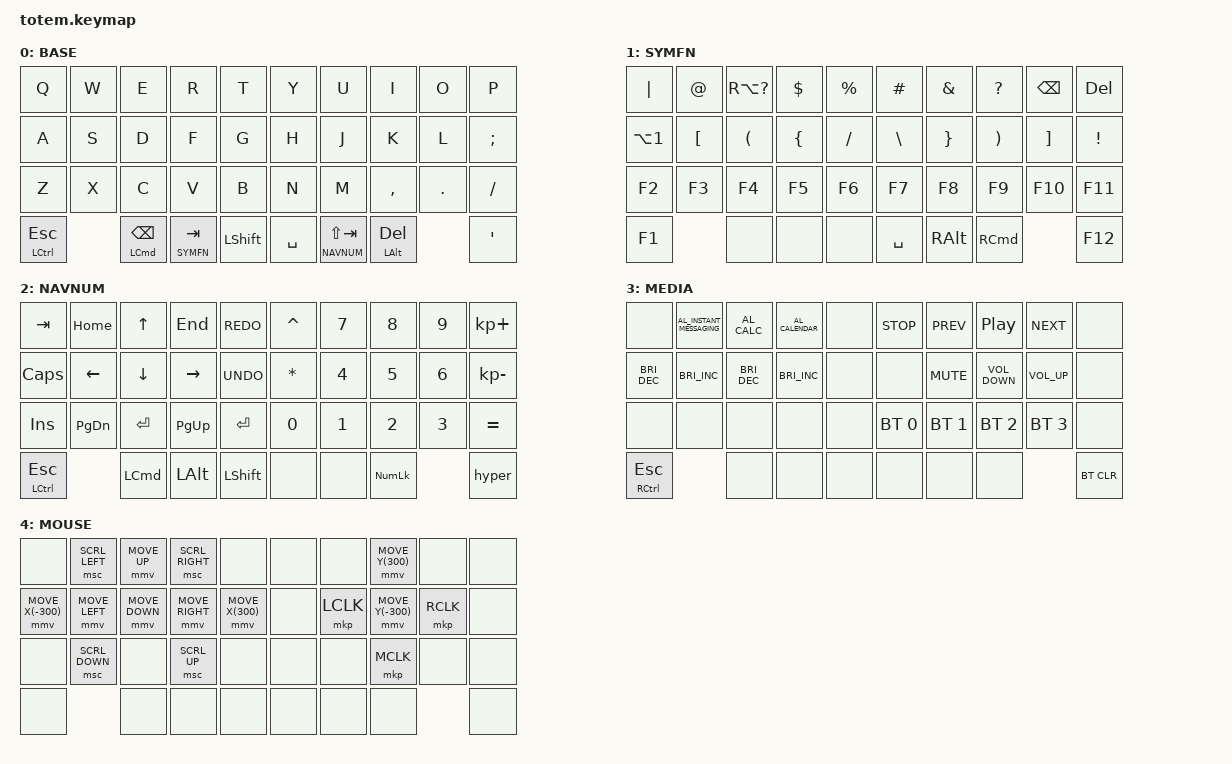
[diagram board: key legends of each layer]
//
//                                                        ▀▀▀▀▀     ▀▀▀▀▀          ▀▀█▀▀
//                                                        ▄▀▀▀▄  ▄  ▄▀▀▀▄  ▄  ▄▀▀▀▄  █  ▄▀▀▀▄
//                                                        █   █  █  █   █  █  █   █  █  █   █
//                                                         ▀▀▀   █   ▀▀▀   █   ▀▀▀   ▀   ▀▀▀
//                                                               █      ▄▄▄█▄▄▄    █   █
//                                                               ▀      █  █  █     █▄█
//                                                             ▀▀▀▀▀    █  █  █      ▀
//                                                                      ▀  ▀  ▀
//
// ▄▄▄▄▄▄▄▄▄▄▄▄▄▄▄▄▄▄▄▄▄▄▄▄▄▄▄▄▄▄▄▄▄▄▄▄▄▄▄▄▄▄▄▄▄▄▄▄▄▄▄▄▄▄▄▄▄▄▄▄▄▄▄▄▄▄▄▄▄▄▄▄▄▄▄▄▄▄▄▄▄▄▄▄▄▄▄▄▄▄▄▄▄▄▄▄▄▄▄▄▄▄▄▄▄▄▄▄▄▄▄▄▄▄▄▄▄▄▄▄▄▄▄▄▄▄▄▄▄▄▄▄▄▄▄▄▄▄▄▄▄▄▄▄▄▄▄▄▄
//
//   Layer 0: BASE    — QWERTY, dedicated thumb modifiers, outer pinky keys
//   Layer 1: SYMFN   — symbols, brackets, F1-F12 (hold Left Thumb 2)
//   Layer 2: NAVNUM  — navigation arrows, keypad numbers (hold Right Thumb 2)
//   Layer 3: MEDIA   — media, brightness, app launchers, BT profiles (dual-thumb combo 32+35)
//   Layer 4: MOUSE   — mouse movement, scroll, clicks (dual-thumb combo 33+34)

#include <dt-bindings/zmk/mouse.h>
#include <behaviors.dtsi>
#include <dt-bindings/zmk/bt.h>
#include <dt-bindings/zmk/keys.h>
#include <dt-bindings/zmk/pointing.h>

#define BASE   0
#define SYMFN  1
#define NAVNUM 2
#define MEDIA  3
#define MOUSE  4

&mt {
    flavor = "tap-preferred";
    tapping-term-ms = <280>;
    quick-tap-ms = <220>;
    require-prior-idle-ms = <150>;
};

&lt {
    flavor = "balanced";
    tapping-term-ms = <300>;
    quick-tap-ms = <220>;
};

/ {
    combos {
        compatible = "zmk,combos";

        // ── Tier 1: Essential ──────────────────────────────────────
        // ── Tier 2: High Value ─────────────────────────────────────

        combo_enter {
            bindings = <&kp RET>;
            key-positions = <17 18 16>;         // K + L
            timeout-ms = <70>;
            require-prior-idle-ms = <150>;
        };

        // ── Tier 3: Vertical Symbol Combos ─────────────────────────

        combo_equal {
            bindings = <&kp EQUAL>;
            key-positions = <28 29>;         // F + V (left index vertical)
            timeout-ms = <70>;
            require-prior-idle-ms = <150>;
        };

        media_layer {
            bindings = <&lt MEDIA RIGHT_ALT>;
            key-positions = <32 35>;
            timeout-ms = <70>;
            require-prior-idle-ms = <150>;
        };

        tilde {
            bindings = <&kp TILDE>;
            key-positions = <17 18>;
            timeout-ms = <70>;
            require-prior-idle-ms = <150>;
        };

        Tab {
            bindings = <&kp TAB>;
            key-positions = <0 1>;
            timeout-ms = <70>;
            require-prior-idle-ms = <150>;
        };

        minus_and_underscore {
            bindings = <&kp MINUS>;
            key-positions = <19 18>;
            timeout-ms = <70>;
            require-prior-idle-ms = <150>;
        };

        plus {
            bindings = <&kp PLUS>;
            key-positions = <8 9>;
            timeout-ms = <80>;
            require-prior-idle-ms = <170>;
        };

        quick_search {
            bindings = <&kp C_AC_SEARCH>;
            key-positions = <1 2 3>;
            timeout-ms = <70>;
            require-prior-idle-ms = <150>;
        };

        mouse_layer {
            bindings = <&lt MOUSE LEFT_ALT>;
            key-positions = <33 34>;
            timeout-ms = <70>;
            require-prior-idle-ms = <150>;
        };

        combo-enter-left {
            bindings = <&kp ENTER>;
            key-positions = <11 12 13>;
            timeout-ms = <70>;
            require-prior-idle-ms = <150>;
        };

        combo-backspace {
            bindings = <&kp BACKSPACE>;
            key-positions = <7 8>;
            timeout-ms = <80>;
            require-prior-idle-ms = <170>;
        };
    };

    macros {
        hyper: hyper {
            compatible = "zmk,behavior-macro";
            #binding-cells = <0>;
            bindings =
                <&macro_press>,
                <&kp LGUI &kp LALT &kp LCTRL &kp LSHFT>,
                <&macro_pause_for_release>,
                <&macro_release>,
                <&kp LGUI &kp LALT &kp LCTRL &kp LSHFT>;
        };

        degree: degree {
            compatible = "zmk,behavior-macro";
            #binding-cells = <0>;
            bindings = <&kp LS(LA(NUMBER_8))>;
            label = "DEGREE";
        };
    };

    keymap {
        compatible = "zmk,keymap";

        // ▄▄▄▄▄▄▄▄▄▄▄▄▄▄▄▄▄▄▄▄▄▄▄▄▄▄▄▄▄▄▄▄▄▄▄▄▄▄▄▄▄▄▄▄▄▄▄▄▄▄▄▄▄▄▄▄▄▄▄▄▄▄▄▄▄▄▄▄▄▄▄▄▄▄▄▄▄▄▄▄▄▄▄▄▄▄▄▄▄▄▄▄▄▄▄▄▄▄▄▄▄▄▄▄▄▄▄▄▄▄▄▄▄▄▄▄▄▄▄▄▄▄▄▄▄▄▄▄▄▄▄▄▄▄▄▄▄▄▄▄▄▄▄▄▄▄▄▄▄

        base_layer {
            display-name = "BASE";
            bindings = <
&kp Q          &kp W  &kp E                       &kp R          &kp T           &kp Y      &kp U               &kp I                &kp O    &kp P
&kp A          &kp S  &kp D                       &kp F          &kp G           &kp H      &kp J               &kp K                &kp L    &kp SEMI
&kp Z          &kp X  &kp C                       &kp V          &kp B           &kp N      &kp M               &kp COMMA            &kp DOT  &kp SLASH
&mt LCTRL ESC         &mt LEFT_COMMAND BACKSPACE  &lt SYMFN TAB  &kp LEFT_SHIFT  &kp SPACE  &lt NAVNUM LS(TAB)  &mt LEFT_ALT DELETE           &kp SINGLE_QUOTE
            >;
        };

        symfn_layer {
            bindings = <
&kp PIPE          &kp AT            &kp RA(QUESTION)      &kp DOLLAR      &kp PERCENT  &kp HASH       &kp AMPERSAND    &kp QUESTION           &kp BACKSPACE      &kp DELETE
&kp LA(NUMBER_1)  &kp LEFT_BRACKET  &kp LEFT_PARENTHESIS  &kp LEFT_BRACE  &kp SLASH    &kp BACKSLASH  &kp RIGHT_BRACE  &kp RIGHT_PARENTHESIS  &kp RIGHT_BRACKET  &kp EXCLAMATION
&kp F2            &kp F3            &kp F4                &kp F5          &kp F6       &kp F7         &kp F8           &kp F9                 &kp F10            &kp F11
&kp F1                              &none                 &none           &none        &kp SPACE      &kp RIGHT_ALT    &kp RIGHT_COMMAND                         &kp F12
            >;

            label = "SYMFN";
        };

        navnum_layer {
            display-name = "NAVNUM";
            bindings = <
&kp TAB                  &kp HOME       &kp UP            &kp END       &kp K_REDO      &kp CARET     &kp NUMBER_7  &kp NUMBER_8    &kp NUMBER_9  &kp KP_PLUS
&kp CAPSLOCK             &kp LEFT       &kp DOWN          &kp RIGHT     &kp K_UNDO      &kp ASTERISK  &kp NUMBER_4  &kp NUMBER_5    &kp NUMBER_6  &kp KP_MINUS
&kp INS                  &kp PAGE_DOWN  &kp ENTER         &kp PG_UP     &kp ENTER       &kp NUMBER_0  &kp NUMBER_1  &kp NUMBER_2    &kp NUMBER_3  &kp EQUAL
&mt LEFT_CONTROL ESCAPE                 &kp LEFT_COMMAND  &kp LEFT_ALT  &kp LEFT_SHIFT  &none         &none         &kp KP_NUMLOCK                &hyper
            >;
        };

        media_layer {
            display-name = "MEDIA";
            bindings = <
&none                 &kp C_AL_INSTANT_MESSAGING  &kp C_AL_CALC         &kp C_AL_CALENDAR     &none  &kp C_STOP    &kp C_PREV    &kp C_PLAY_PAUSE   &kp C_NEXT       &none
&kp C_BRIGHTNESS_DEC  &kp C_BRIGHTNESS_INC        &kp C_BRIGHTNESS_DEC  &kp C_BRIGHTNESS_INC  &none  &none         &kp C_MUTE    &kp C_VOLUME_DOWN  &kp C_VOLUME_UP  &none
&none                 &none                       &none                 &none                 &none  &bt BT_SEL 0  &bt BT_SEL 1  &bt BT_SEL 2       &bt BT_SEL 3     &none
&mt RCTRL ESCAPE                                  &none                 &none                 &none  &none         &none         &none                               &bt BT_CLR
            >;
        };

        mouse_layer {
            display-name = "MOUSE";
            bindings = <
&none              &msc SCRL_LEFT  &mmv MOVE_UP    &msc SCRL_RIGHT  &none             &none  &none      &mmv MOVE_Y(300)   &none      &none
&mmv MOVE_X(-300)  &mmv MOVE_LEFT  &mmv MOVE_DOWN  &mmv MOVE_RIGHT  &mmv MOVE_X(300)  &none  &mkp LCLK  &mmv MOVE_Y(-300)  &mkp RCLK  &none
&none              &msc SCRL_DOWN  &none           &msc SCRL_UP     &none             &none  &none      &mkp MCLK          &none      &none
&none                              &none           &none            &none             &none  &none      &none                         &none
            >;
        };
    };
};
